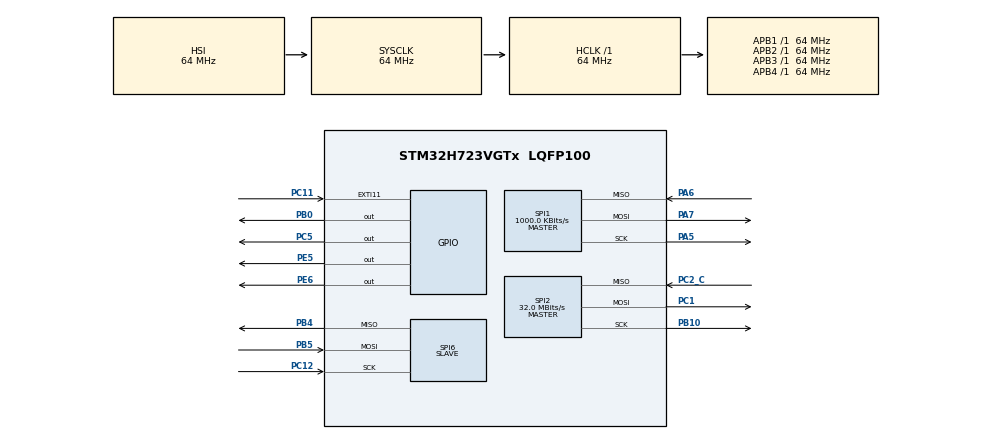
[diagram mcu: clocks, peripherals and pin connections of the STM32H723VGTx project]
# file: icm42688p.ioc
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CORTEX_M7.default_mode_Activation=1
Mcu.Family=STM32H7
Mcu.Name=STM32H723VGTx
Mcu.Package=LQFP100
NVIC.PriorityGroup=NVIC_PRIORITYGROUP_4
NVIC.SPI6_IRQn=true\:0\:0\:false\:false\:true\:true\:true\:true
PA5.Mode=Full_Duplex_Master
PA5.Signal=SPI1_SCK
PA6.Mode=Full_Duplex_Master
PA6.Signal=SPI1_MISO
PA7.Mode=Full_Duplex_Master
PA7.Signal=SPI1_MOSI
PB0.Signal=GPIO_Output
PB10.Mode=Full_Duplex_Master
PB10.Signal=SPI2_SCK
PB4(NJTRST).Mode=Full_Duplex_Slave
PB4(NJTRST).Signal=SPI6_MISO
PB5.Mode=Full_Duplex_Slave
PB5.Signal=SPI6_MOSI
PC1.Mode=Full_Duplex_Master
PC1.Signal=SPI2_MOSI
PC11.GPIO_PuPd=GPIO_PULLUP
PC11.Signal=GPXTI11
PC12.Mode=Full_Duplex_Slave
PC12.Signal=SPI6_SCK
PC2_C.Mode=Full_Duplex_Master
PC2_C.Signal=SPI2_MISO
PC5.PinState=GPIO_PIN_SET
PC5.Signal=GPIO_Output
PE5.PinState=GPIO_PIN_SET
PE5.Signal=GPIO_Output
PE6.PinState=GPIO_PIN_SET
PE6.Signal=GPIO_Output
ProjectManager.HeapSize=0x200
ProjectManager.StackSize=0x400
ProjectManager.TargetToolchain=STM32CubeIDE
RCC.ADCFreq_Value=129000000
RCC.APB1Freq_Value=64000000
RCC.APB2Freq_Value=64000000
RCC.APB3Freq_Value=64000000
RCC.APB4Freq_Value=64000000
RCC.CortexFreq_Value=64000000
RCC.DIVM1=4
RCC.DIVN1=12
RCC.DIVQ1=3
RCC.HCLKFreq_Value=64000000
RCC.PLLFRACN=0
RCC.SYSCLKFreq_VALUE=64000000
RCC.USBFreq_Value=64000000
SPI1.BaudRatePrescaler=SPI_BAUDRATEPRESCALER_64
SPI1.CLKPhase=SPI_PHASE_2EDGE
SPI1.CLKPolarity=SPI_POLARITY_HIGH
SPI1.CalculateBaudRate=1000.0 KBits/s
SPI1.DataSize=SPI_DATASIZE_8BIT
SPI1.Direction=SPI_DIRECTION_2LINES
SPI1.Mode=SPI_MODE_MASTER
SPI1.VirtualType=VM_MASTER
SPI2.BaudRatePrescaler=SPI_BAUDRATEPRESCALER_2
SPI2.CalculateBaudRate=32.0 MBits/s
SPI2.DataSize=SPI_DATASIZE_8BIT
SPI2.Direction=SPI_DIRECTION_2LINES
SPI2.Mode=SPI_MODE_MASTER
SPI2.VirtualType=VM_MASTER
SPI6.DataSize=SPI_DATASIZE_8BIT
SPI6.Direction=SPI_DIRECTION_2LINES
SPI6.Mode=SPI_MODE_SLAVE
SPI6.VirtualType=VM_SLAVE
VP_MEMORYMAP_VS_MEMORYMAP.Mode=CurAppReg
board=custom

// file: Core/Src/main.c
/* USER CODE BEGIN Header */
/**
  ******************************************************************************
  * @file           : main.c
  * @brief          : Main program body
  ******************************************************************************
  * @attention
  *
  * Copyright (c) 2025 STMicroelectronics.
  * All rights reserved.
  *
  * This software is licensed under terms that can be found in the LICENSE file
  * in the root directory of this software component.
  * If no LICENSE file comes with this software, it is provided AS-IS.
  *
  ******************************************************************************
  */
/* USER CODE END Header */
#include "main.h"

/* USER CODE BEGIN Includes */
//#include "spi.h"   // generado por CubeMX

/* USER CODE END Includes */

SPI_HandleTypeDef hspi1;
SPI_HandleTypeDef hspi2;
SPI_HandleTypeDef hspi6;

void SystemClock_Config(void);
static void MPU_Config(void);
static void MX_GPIO_Init(void);
static void MX_SPI6_Init(void);
static void MX_SPI2_Init(void);
static void MX_SPI1_Init(void);
/* USER CODE BEGIN PFP */

HAL_StatusTypeDef AK09940_SoftReset(void);
HAL_StatusTypeDef AK09940_SetModeSafe(uint8_t mode);

//AK099

#define AK09940_REG_WIA1   0x00
#define AK09940_REG_WIA2   0x01
#define AK09940_REG_ST1    0x10
#define AK09940_REG_HXL    0x11
#define AK09940_REG_HXM    0x12
#define AK09940_REG_HXH    0x13
#define AK09940_REG_HYL    0x14
#define AK09940_REG_HYM    0x15
#define AK09940_REG_HYH    0x16
#define AK09940_REG_HZL    0x17
#define AK09940_REG_HZM    0x18
#define AK09940_REG_HZH    0x19
#define AK09940_REG_ST2    0x1B

#define AK09940_REG_CNTL3  0x32   // MODE[4:0] está aquí :contentReference[oaicite:1]{index=1}
#define AK09940_REG_CNTL4  0x33   // SRST está aquí :contentReference[oaicite:2]{index=2}

// ===== AK09940A: CS por GPIO PB0 =====
#define AK_CS_GPIO_Port   GPIOB
#define AK_CS_Pin         GPIO_PIN_0

static inline void AK_CS_Low(void)  { HAL_GPIO_WritePin(AK_CS_GPIO_Port, AK_CS_Pin, GPIO_PIN_RESET); }
static inline void AK_CS_High(void) { HAL_GPIO_WritePin(AK_CS_GPIO_Port, AK_CS_Pin, GPIO_PIN_SET); }

// ===== AK09940A: prototipos =====
uint8_t  AK09940_ReadReg(uint8_t reg);
HAL_StatusTypeDef AK09940_WriteReg(uint8_t reg, uint8_t val);
int AK09940_CheckWhoAmI(uint8_t *wia1, uint8_t *wia2);
HAL_StatusTypeDef AK09940_SetMode(uint8_t mode);
int AK09940_ReadMagXYZ(int16_t *mx, int16_t *my, int16_t *mz);

//fin ak099

// Asumo que CubeMX generó un define para PB0 como ICM_CS_Pin y su puerto como ICM_CS_GPIO_Port
// Si no, sustitúyelo por GPIOB y GPIO_PIN_0.

#define ICM_CS_GPIO_Port   GPIOC
#define ICM_CS_Pin         GPIO_PIN_5

static inline void ICM_CS_Low(void)  { HAL_GPIO_WritePin(ICM_CS_GPIO_Port, ICM_CS_Pin, GPIO_PIN_RESET); }
static inline void ICM_CS_High(void) { HAL_GPIO_WritePin(ICM_CS_GPIO_Port, ICM_CS_Pin, GPIO_PIN_SET); }

extern SPI_HandleTypeDef hspi2;

// Registros ICM42688 (Bank 0)
#define ICM42688_REG_DEVICE_CONFIG   0x11
#define ICM42688_REG_TEMP_DATA1      0x1D
#define ICM42688_REG_ACCEL_XOUT_H    0x1F   // ACCEL_DATA_X1
#define ICM42688_REG_GYRO_XOUT_H     0x25   // GYRO_DATA_X1
#define ICM42688_REG_PWR_MGMT0       0x4E
#define ICM42688_REG_GYRO_CONFIG0    0x4F
#define ICM42688_REG_ACCEL_CONFIG0   0x50
#define ICM42688_REG_WHO_AM_I        0x75

#define ICM42688_SPI_READ            0x80

uint8_t ICM_ReadWhoAmI(void)
{
    uint8_t tx[2] = { (uint8_t)(0x80 | 0x75), 0x00 }; // addr + dummy
    uint8_t rx[2] = { 0, 0 };
    uint8_t who = 0x00;

    ICM_CS_Low();
    if (HAL_SPI_TransmitReceive(&hspi2, tx, rx, 2, HAL_MAX_DELAY) == HAL_OK) {
        who = rx[1];   // el dato normalmente cae aquí
    }
    ICM_CS_High();

    return who;
}

// Transacción de 1 registro: escritura
HAL_StatusTypeDef ICM_WriteReg(uint8_t reg, uint8_t data)
{
    HAL_StatusTypeDef status;
    uint8_t tx[2];

    tx[0] = reg & 0x7F;   // bit7 = 0 → write
    tx[1] = data;

    ICM_CS_Low();
    status = HAL_SPI_Transmit(&hspi2, tx, 2, HAL_MAX_DELAY);
    ICM_CS_High();

    return status;
}

// Lectura de N bytes empezando en reg
HAL_StatusTypeDef ICM_ReadRegs(uint8_t reg, uint8_t *pData, uint16_t size)
{
    HAL_StatusTypeDef status;
    uint8_t txAddr = ICM42688_SPI_READ | (reg & 0x7F);

    ICM_CS_Low();
    status = HAL_SPI_Transmit(&hspi2, &txAddr, 1, HAL_MAX_DELAY);
    if (status != HAL_OK) {
        ICM_CS_High();
        return status;
    }

    status = HAL_SPI_Receive(&hspi2, pData, size, HAL_MAX_DELAY);
    ICM_CS_High();

    return status;
}

// Inicializacion

int ICM42688_Init(void)
{
    HAL_StatusTypeDef status;
    uint8_t whoami = 0;

    // 1) Soft reset (DEVICE_CONFIG bit0 = 1)
    status = ICM_WriteReg(ICM42688_REG_DEVICE_CONFIG, 0x01);
    if (status != HAL_OK) return -1;
    HAL_Delay(2);  // datasheet pide ~1ms

    // 2) Leer WHO_AM_I y verificar 0x47
    status = ICM_ReadRegs(ICM42688_REG_WHO_AM_I, &whoami, 1);
    if (status != HAL_OK) return -2;
    if (whoami != 0x47)   return -3;  // error de conexión

    // 3) PWR_MGMT0: habilitar Gyro LN + Accel LN, Temp ON
    // GYRO_MODE=11b (LN), ACCEL_MODE=11b (LN) → 0b0000 1111 = 0x0F
    status = ICM_WriteReg(ICM42688_REG_PWR_MGMT0, 0x0F);
    if (status != HAL_OK) return -4;
    HAL_Delay(50);

    uint8_t pwr = 0;
    status = ICM_ReadRegs(ICM42688_REG_PWR_MGMT0, &pwr, 1);
    if (status != HAL_OK) return -7;
    if (pwr != 0x0F) return -8;

    // 4) GYRO_CONFIG0: dejar por defecto (±2000dps, 1kHz) o cambiar si quieres
    // Ejemplo: 0x06 = FS ±2000dps, ODR 1kHz
    status = ICM_WriteReg(ICM42688_REG_GYRO_CONFIG0, 0x06);
    if (status != HAL_OK) return -5;

    // 5) ACCEL_CONFIG0: por ejemplo ±4g, ODR 1kHz (revisa tabla exacta en el datasheet)
    // Para algo simple podemos dejar también 0x06 (dependerá de la tabla de ACCEL_FS_SEL/ODR).
    status = ICM_WriteReg(ICM42688_REG_ACCEL_CONFIG0, 0x06);
    if (status != HAL_OK) return -6;

    return 0; // OK
}

// Lectura

typedef struct {
    int16_t temp;
    int16_t ax, ay, az;
    int16_t gx, gy, gz;
} ICM42688_Data_t;

int ICM42688_ReadData(ICM42688_Data_t *out)
{
    uint8_t raw[14];
    HAL_StatusTypeDef status;

    // Leer TEMP_DATA1 (0x1D) hasta GYRO_DATA_Z0 (0x2A) → 14 bytes
    status = ICM_ReadRegs(ICM42688_REG_TEMP_DATA1, raw, 14);
    if (status != HAL_OK) return -1;

    out->temp = (int16_t)((raw[0] << 8) | raw[1]);
    out->ax   = (int16_t)((raw[2] << 8) | raw[3]);
    out->ay   = (int16_t)((raw[4] << 8) | raw[5]);
    out->az   = (int16_t)((raw[6] << 8) | raw[7]);
    out->gx   = (int16_t)((raw[8] << 8) | raw[9]);
    out->gy   = (int16_t)((raw[10] << 8) | raw[11]);
    out->gz   = (int16_t)((raw[12] << 8) | raw[13]);

    return 0;
}

// Buffer global y arranque del SPI slave

#define SPI6_FRAME_LEN 24

extern SPI_HandleTypeDef hspi6;

uint8_t spi6_tx_buf[SPI6_FRAME_LEN];
uint8_t spi6_rx_buf[SPI6_FRAME_LEN]; // por si quieres comandos más adelante

static uint8_t frame_pending[SPI6_FRAME_LEN];
static volatile uint8_t frame_pending_valid = 0;

void Start_SPI6_Slave(void)
{
    // Preparar cabecera
    spi6_tx_buf[0] = 0xAA;
    spi6_tx_buf[1] = 0x55;

    // Arrancar recepción/transmisión en modo IT (full-duplex)
    HAL_SPI_TransmitReceive_IT(&hspi6, spi6_tx_buf, spi6_rx_buf, SPI6_FRAME_LEN);
}

void HAL_SPI_TxRxCpltCallback(SPI_HandleTypeDef *hspi)
{
    if (hspi->Instance == SPI6) {

        // Actualiza TX buffer SOLO cuando terminó la transacción anterior
        if (frame_pending_valid) {
            for (int i = 0; i < SPI6_FRAME_LEN; i++) {
                spi6_tx_buf[i] = frame_pending[i];
            }
            frame_pending_valid = 0;
        }

        // Rearmar siguiente transacción
        HAL_SPI_TransmitReceive_IT(&hspi6, spi6_tx_buf, spi6_rx_buf, SPI6_FRAME_LEN);
    }
}

/* USER CODE END PFP */

int main(void)
{

  /* MPU Configuration--------------------------------------------------------*/
  MPU_Config();

  /* MCU Configuration--------------------------------------------------------*/

  /* Reset of all peripherals, Initializes the Flash interface and the Systick. */
  HAL_Init();

  /* Configure the system clock */
  SystemClock_Config();

  /* Initialize all configured peripherals */
  MX_GPIO_Init();
  MX_SPI6_Init();
  MX_SPI2_Init();
  MX_SPI1_Init();
  /* USER CODE BEGIN 2 */

  //uint8_t w1 = AK09940_ReadReg(0x00);
  //uint8_t w2 = AK09940_ReadReg(0x01);
  // Pon breakpoint aquí y mira w1/w2

  ICM_CS_High();    // asegurarse
  //if (ICM42688_Init() != 0) {
      // error → parpadear LED, etc.
  //}

  // AK099
  AK_CS_High(); // CS en reposo alto

  uint8_t w1=0, w2=0;
  AK09940_CheckWhoAmI(&w1, &w2);

  AK09940_SoftReset();

  // Continuous measurement mode 4 = 100 Hz => MODE[4:0] = 01000b = 0x08 :contentReference[oaicite:8]{index=8}
  AK09940_SetModeSafe(0x08);
  HAL_Delay(10);

  //AK099

  int ret = ICM42688_Init();
  if (ret != 0) {
      // Si falla, para depurar: manda el código de error a la RPi
      spi6_tx_buf[0] = 0xAA;
      spi6_tx_buf[1] = 0x55;
      for (int i = 2; i < 16; i++) spi6_tx_buf[i] = 0xE0 | (uint8_t)(-ret); // marca simple
      // y puedes quedarte aquí o seguir
  }

  Start_SPI6_Slave();

  //ICM42688_Data_t imu;
  /* USER CODE END 2 */

  /* Infinite loop */
  while (1)
  {

    /* USER CODE BEGIN 3 */
	  uint8_t frame[SPI6_FRAME_LEN];
	  frame[0] = 0xAA;
	  frame[1] = 0x55;

	  uint8_t status = 0;

	  ICM42688_Data_t imu;
	  int16_t mx=0, my=0, mz=0;

	  if (ICM42688_ReadData(&imu) == 0) {
	      status |= (1 << 0);

	      frame[2]  = (uint8_t)(imu.temp >> 8);
	      frame[3]  = (uint8_t)(imu.temp & 0xFF);

	      frame[4]  = (uint8_t)(imu.ax >> 8);
	      frame[5]  = (uint8_t)(imu.ax & 0xFF);

	      frame[6]  = (uint8_t)(imu.ay >> 8);
	      frame[7]  = (uint8_t)(imu.ay & 0xFF);

	      frame[8]  = (uint8_t)(imu.az >> 8);
	      frame[9]  = (uint8_t)(imu.az & 0xFF);

	      frame[10] = (uint8_t)(imu.gx >> 8);
	      frame[11] = (uint8_t)(imu.gx & 0xFF);

	      frame[12] = (uint8_t)(imu.gy >> 8);
	      frame[13] = (uint8_t)(imu.gy & 0xFF);

	      frame[14] = (uint8_t)(imu.gz >> 8);
	      frame[15] = (uint8_t)(imu.gz & 0xFF);
	  } else {
	      for (int i = 2; i <= 15; i++) frame[i] = 0xEE;
	  }

	  if (AK09940_ReadMagXYZ(&mx, &my, &mz) == 0) {
	      status |= (1 << 1);

	      frame[16] = (uint8_t)(mx >> 8);
	      frame[17] = (uint8_t)(mx & 0xFF);

	      frame[18] = (uint8_t)(my >> 8);
	      frame[19] = (uint8_t)(my & 0xFF);

	      frame[20] = (uint8_t)(mz >> 8);
	      frame[21] = (uint8_t)(mz & 0xFF);
	  } else {
	      frame[16] = frame[17] = 0xEF;
	      frame[18] = frame[19] = 0xEF;
	      frame[20] = frame[21] = 0xEF;
	  }

	  frame[22] = status;

	  // checksum XOR (0..22)
	  uint8_t csum = 0;
	  for (int i = 0; i <= 22; i++) csum ^= frame[i];
	  frame[23] = csum;

	  // Publicar frame para que el callback lo tome cuando termine la transacción SPI6
	  for (int i = 0; i < SPI6_FRAME_LEN; i++) frame_pending[i] = frame[i];
	  frame_pending_valid = 1;

	  HAL_Delay(10);
  }
  /* USER CODE END 3 */
}

void SystemClock_Config(void)
{
  RCC_OscInitTypeDef RCC_OscInitStruct = {0};
  RCC_ClkInitTypeDef RCC_ClkInitStruct = {0};

  /** Supply configuration update enable
  */
  HAL_PWREx_ConfigSupply(PWR_LDO_SUPPLY);

  /** Configure the main internal regulator output voltage
  */
  __HAL_PWR_VOLTAGESCALING_CONFIG(PWR_REGULATOR_VOLTAGE_SCALE3);

  while(!__HAL_PWR_GET_FLAG(PWR_FLAG_VOSRDY)) {}

  /** Initializes the RCC Oscillators according to the specified parameters
  * in the RCC_OscInitTypeDef structure.
  */
  RCC_OscInitStruct.OscillatorType = RCC_OSCILLATORTYPE_HSI;
  RCC_OscInitStruct.HSIState = RCC_HSI_DIV1;
  RCC_OscInitStruct.HSICalibrationValue = 64;
  RCC_OscInitStruct.PLL.PLLState = RCC_PLL_ON;
  RCC_OscInitStruct.PLL.PLLSource = RCC_PLLSOURCE_HSI;
  RCC_OscInitStruct.PLL.PLLM = 4;
  RCC_OscInitStruct.PLL.PLLN = 12;
  RCC_OscInitStruct.PLL.PLLP = 2;
  RCC_OscInitStruct.PLL.PLLQ = 3;
  RCC_OscInitStruct.PLL.PLLR = 2;
  RCC_OscInitStruct.PLL.PLLRGE = RCC_PLL1VCIRANGE_3;
  RCC_OscInitStruct.PLL.PLLVCOSEL = RCC_PLL1VCOWIDE;
  RCC_OscInitStruct.PLL.PLLFRACN = 0;
  if (HAL_RCC_OscConfig(&RCC_OscInitStruct) != HAL_OK)
  {
    Error_Handler();
  }

  /** Initializes the CPU, AHB and APB buses clocks
  */
  RCC_ClkInitStruct.ClockType = RCC_CLOCKTYPE_HCLK|RCC_CLOCKTYPE_SYSCLK
                              |RCC_CLOCKTYPE_PCLK1|RCC_CLOCKTYPE_PCLK2
                              |RCC_CLOCKTYPE_D3PCLK1|RCC_CLOCKTYPE_D1PCLK1;
  RCC_ClkInitStruct.SYSCLKSource = RCC_SYSCLKSOURCE_HSI;
  RCC_ClkInitStruct.SYSCLKDivider = RCC_SYSCLK_DIV1;
  RCC_ClkInitStruct.AHBCLKDivider = RCC_HCLK_DIV1;
  RCC_ClkInitStruct.APB3CLKDivider = RCC_APB3_DIV1;
  RCC_ClkInitStruct.APB1CLKDivider = RCC_APB1_DIV1;
  RCC_ClkInitStruct.APB2CLKDivider = RCC_APB2_DIV1;
  RCC_ClkInitStruct.APB4CLKDivider = RCC_APB4_DIV1;

  if (HAL_RCC_ClockConfig(&RCC_ClkInitStruct, FLASH_LATENCY_1) != HAL_OK)
  {
    Error_Handler();
  }
}

static void MX_SPI1_Init(void)
{

  /* SPI1 parameter configuration*/
  hspi1.Instance = SPI1;
  hspi1.Init.Mode = SPI_MODE_MASTER;
  hspi1.Init.Direction = SPI_DIRECTION_2LINES;
  hspi1.Init.DataSize = SPI_DATASIZE_8BIT;
  hspi1.Init.CLKPolarity = SPI_POLARITY_HIGH;
  hspi1.Init.CLKPhase = SPI_PHASE_2EDGE;
  hspi1.Init.NSS = SPI_NSS_SOFT;
  hspi1.Init.BaudRatePrescaler = SPI_BAUDRATEPRESCALER_256;
  hspi1.Init.FirstBit = SPI_FIRSTBIT_MSB;
  hspi1.Init.TIMode = SPI_TIMODE_DISABLE;
  hspi1.Init.CRCCalculation = SPI_CRCCALCULATION_DISABLE;
  hspi1.Init.CRCPolynomial = 0x0;
  hspi1.Init.NSSPMode = SPI_NSS_PULSE_DISABLE;
  hspi1.Init.NSSPolarity = SPI_NSS_POLARITY_LOW;
  hspi1.Init.FifoThreshold = SPI_FIFO_THRESHOLD_01DATA;
  hspi1.Init.TxCRCInitializationPattern = SPI_CRC_INITIALIZATION_ALL_ZERO_PATTERN;
  hspi1.Init.RxCRCInitializationPattern = SPI_CRC_INITIALIZATION_ALL_ZERO_PATTERN;
  hspi1.Init.MasterSSIdleness = SPI_MASTER_SS_IDLENESS_00CYCLE;
  hspi1.Init.MasterInterDataIdleness = SPI_MASTER_INTERDATA_IDLENESS_00CYCLE;
  hspi1.Init.MasterReceiverAutoSusp = SPI_MASTER_RX_AUTOSUSP_DISABLE;
  hspi1.Init.MasterKeepIOState = SPI_MASTER_KEEP_IO_STATE_DISABLE;
  hspi1.Init.IOSwap = SPI_IO_SWAP_DISABLE;
  if (HAL_SPI_Init(&hspi1) != HAL_OK)
  {
    Error_Handler();
  }

}

static void MX_SPI2_Init(void)
{

  /* SPI2 parameter configuration*/
  hspi2.Instance = SPI2;
  hspi2.Init.Mode = SPI_MODE_MASTER;
  hspi2.Init.Direction = SPI_DIRECTION_2LINES;
  hspi2.Init.DataSize = SPI_DATASIZE_8BIT;
  hspi2.Init.CLKPolarity = SPI_POLARITY_LOW;
  hspi2.Init.CLKPhase = SPI_PHASE_1EDGE;
  hspi2.Init.NSS = SPI_NSS_SOFT;
  hspi2.Init.BaudRatePrescaler = SPI_BAUDRATEPRESCALER_2;
  hspi2.Init.FirstBit = SPI_FIRSTBIT_MSB;
  hspi2.Init.TIMode = SPI_TIMODE_DISABLE;
  hspi2.Init.CRCCalculation = SPI_CRCCALCULATION_DISABLE;
  hspi2.Init.CRCPolynomial = 0x0;
  hspi2.Init.NSSPMode = SPI_NSS_PULSE_ENABLE;
  hspi2.Init.NSSPolarity = SPI_NSS_POLARITY_LOW;
  hspi2.Init.FifoThreshold = SPI_FIFO_THRESHOLD_01DATA;
  hspi2.Init.TxCRCInitializationPattern = SPI_CRC_INITIALIZATION_ALL_ZERO_PATTERN;
  hspi2.Init.RxCRCInitializationPattern = SPI_CRC_INITIALIZATION_ALL_ZERO_PATTERN;
  hspi2.Init.MasterSSIdleness = SPI_MASTER_SS_IDLENESS_00CYCLE;
  hspi2.Init.MasterInterDataIdleness = SPI_MASTER_INTERDATA_IDLENESS_00CYCLE;
  hspi2.Init.MasterReceiverAutoSusp = SPI_MASTER_RX_AUTOSUSP_DISABLE;
  hspi2.Init.MasterKeepIOState = SPI_MASTER_KEEP_IO_STATE_DISABLE;
  hspi2.Init.IOSwap = SPI_IO_SWAP_DISABLE;
  if (HAL_SPI_Init(&hspi2) != HAL_OK)
  {
    Error_Handler();
  }

}

static void MX_SPI6_Init(void)
{

  /* SPI6 parameter configuration*/
  hspi6.Instance = SPI6;
  hspi6.Init.Mode = SPI_MODE_SLAVE;
  hspi6.Init.Direction = SPI_DIRECTION_2LINES;
  hspi6.Init.DataSize = SPI_DATASIZE_8BIT;
  hspi6.Init.CLKPolarity = SPI_POLARITY_LOW;
  hspi6.Init.CLKPhase = SPI_PHASE_1EDGE;
  hspi6.Init.NSS = SPI_NSS_SOFT;
  hspi6.Init.FirstBit = SPI_FIRSTBIT_MSB;
  hspi6.Init.TIMode = SPI_TIMODE_DISABLE;
  hspi6.Init.CRCCalculation = SPI_CRCCALCULATION_DISABLE;
  hspi6.Init.CRCPolynomial = 0x0;
  hspi6.Init.NSSPMode = SPI_NSS_PULSE_DISABLE;
  hspi6.Init.NSSPolarity = SPI_NSS_POLARITY_LOW;
  hspi6.Init.FifoThreshold = SPI_FIFO_THRESHOLD_01DATA;
  hspi6.Init.TxCRCInitializationPattern = SPI_CRC_INITIALIZATION_ALL_ZERO_PATTERN;
  hspi6.Init.RxCRCInitializationPattern = SPI_CRC_INITIALIZATION_ALL_ZERO_PATTERN;
  hspi6.Init.MasterSSIdleness = SPI_MASTER_SS_IDLENESS_00CYCLE;
  hspi6.Init.MasterInterDataIdleness = SPI_MASTER_INTERDATA_IDLENESS_00CYCLE;
  hspi6.Init.MasterReceiverAutoSusp = SPI_MASTER_RX_AUTOSUSP_DISABLE;
  hspi6.Init.MasterKeepIOState = SPI_MASTER_KEEP_IO_STATE_DISABLE;
  hspi6.Init.IOSwap = SPI_IO_SWAP_DISABLE;
  if (HAL_SPI_Init(&hspi6) != HAL_OK)
  {
    Error_Handler();
  }

}

static void MX_GPIO_Init(void)
{
  GPIO_InitTypeDef GPIO_InitStruct = {0};

  /* GPIO Ports Clock Enable */
  __HAL_RCC_GPIOE_CLK_ENABLE();
  __HAL_RCC_GPIOC_CLK_ENABLE();
  __HAL_RCC_GPIOA_CLK_ENABLE();
  __HAL_RCC_GPIOB_CLK_ENABLE();

  /*Configure GPIO pin Output Level */
  HAL_GPIO_WritePin(GPIOE, GPIO_PIN_5|GPIO_PIN_6, GPIO_PIN_SET);

  /*Configure GPIO pin Output Level */
  HAL_GPIO_WritePin(GPIOC, GPIO_PIN_5, GPIO_PIN_SET);

  /*Configure GPIO pin Output Level */
  HAL_GPIO_WritePin(GPIOB, GPIO_PIN_0, GPIO_PIN_SET);

  /*Configure GPIO pins : PE5 PE6 */
  GPIO_InitStruct.Pin = GPIO_PIN_5|GPIO_PIN_6;
  GPIO_InitStruct.Mode = GPIO_MODE_OUTPUT_PP;
  GPIO_InitStruct.Pull = GPIO_NOPULL;
  GPIO_InitStruct.Speed = GPIO_SPEED_FREQ_LOW;
  HAL_GPIO_Init(GPIOE, &GPIO_InitStruct);

  /*Configure GPIO pin : PC5 */
  GPIO_InitStruct.Pin = GPIO_PIN_5;
  GPIO_InitStruct.Mode = GPIO_MODE_OUTPUT_PP;
  GPIO_InitStruct.Pull = GPIO_NOPULL;
  GPIO_InitStruct.Speed = GPIO_SPEED_FREQ_LOW;
  HAL_GPIO_Init(GPIOC, &GPIO_InitStruct);

  /*Configure GPIO pin : PB0 */
  GPIO_InitStruct.Pin = GPIO_PIN_0;
  GPIO_InitStruct.Mode = GPIO_MODE_OUTPUT_PP;
  GPIO_InitStruct.Pull = GPIO_NOPULL;
  GPIO_InitStruct.Speed = GPIO_SPEED_FREQ_LOW;
  HAL_GPIO_Init(GPIOB, &GPIO_InitStruct);

  /*Configure GPIO pin : PC11 */
  GPIO_InitStruct.Pin = GPIO_PIN_11;
  GPIO_InitStruct.Mode = GPIO_MODE_IT_RISING;
  GPIO_InitStruct.Pull = GPIO_PULLUP;
  HAL_GPIO_Init(GPIOC, &GPIO_InitStruct);

}

/* USER CODE BEGIN 4 */

// AK099
// ===== AK09940A SPI helpers =====
// Protocolo SPI del AK: 1 byte "addr|R/W" (MSB=1 lectura, MSB=0 escritura), luego datos.
// Lectura: enviar addr|0x80 + dummy, recibir dato en el segundo byte.

HAL_StatusTypeDef AK09940_SoftReset(void)
{
    // CNTL4.SRST (bit0) :contentReference[oaicite:3]{index=3}
    HAL_StatusTypeDef st = AK09940_WriteReg(AK09940_REG_CNTL4, 0x01);
    HAL_Delay(2);
    return st;
    return st;
}

HAL_StatusTypeDef AK09940_SetModeSafe(uint8_t mode)
{
    HAL_StatusTypeDef st;

    // Power-down: MODE=00000 :contentReference[oaicite:5]{index=5}
    st = AK09940_WriteReg(AK09940_REG_CNTL3, 0x00);
    HAL_Delay(2);
    if (st != HAL_OK) return st;

    st = AK09940_WriteReg(AK09940_REG_CNTL3, (mode & 0x1F));
    HAL_Delay(2);
    return st;
}

static inline void AK_SPI_Delay(void) {
  for (volatile int i = 0; i < 50; i++) { __NOP(); }
}

uint8_t AK09940_ReadReg(uint8_t reg)
{
    uint8_t tx[2] = { (uint8_t)(reg | 0x80), 0x00 };
    uint8_t rx[2] = { 0, 0 };

    AK_CS_Low();
    AK_SPI_Delay();

    HAL_SPI_TransmitReceive(&hspi1, tx, rx, 2, HAL_MAX_DELAY);

    AK_SPI_Delay();
    AK_CS_High();

    return rx[1];
}

HAL_StatusTypeDef AK09940_WriteReg(uint8_t reg, uint8_t val)
{
    uint8_t tx[2] = { (uint8_t)(reg & 0x7F), val };

    AK_CS_Low();
    AK_SPI_Delay();

    HAL_StatusTypeDef st = HAL_SPI_Transmit(&hspi1, tx, 2, HAL_MAX_DELAY);

    AK_SPI_Delay();
    AK_CS_High();

    return st;
}

int AK09940_CheckWhoAmI(uint8_t *wia1, uint8_t *wia2)
{
    // WIA1=0x48, WIA2=0xA3
    // Direcciones típicas:
    // WIA1: 0x00, WIA2: 0x01
    uint8_t a = AK09940_ReadReg(0x00);
    uint8_t b = AK09940_ReadReg(0x01);

    if (wia1) *wia1 = a;
    if (wia2) *wia2 = b;

    return (a == 0x48 && b == 0xA3) ? 0 : -1;
}

HAL_StatusTypeDef AK09940_SetMode(uint8_t mode)
{
    // MODE[4:0] en CNTL3 :contentReference[oaicite:4]{index=4}
    return AK09940_WriteReg(AK09940_REG_CNTL3, (mode & 0x1F));
}

// Lee varios bytes consecutivos manteniendo CS bajo (burst)
HAL_StatusTypeDef AK09940_ReadBurst(uint8_t startReg, uint8_t *data, uint16_t len)
{
    // Protocolo: primer byte = (addr | 0x80) lectura, luego clocks dummy
    uint8_t cmd = (uint8_t)(startReg | 0x80);

    AK_CS_Low();

    // Enviar comando
    HAL_StatusTypeDef st = HAL_SPI_Transmit(&hspi1, &cmd, 1, HAL_MAX_DELAY);
    if (st != HAL_OK) { AK_CS_High(); return st; }

    // Recibir 'len' bytes
    st = HAL_SPI_Receive(&hspi1, data, len, HAL_MAX_DELAY);

    AK_CS_High();
    return st;
}

// Sign extend 18-bit a int32
static int32_t ak09940_sign_extend_18(uint32_t v)
{
    v &= 0x3FFFF;                       // 18 bits
    if (v & (1UL << 17)) v |= ~0x3FFFFUL; // extender signo
    return (int32_t)v;
}

// Lee X/Y/Z del magnetómetro (18-bit) y entrega int16 (18->16 con >>2)
int AK09940_ReadMagXYZ(int16_t *mx, int16_t *my, int16_t *mz)
{
    uint8_t st1 = AK09940_ReadReg(AK09940_REG_ST1);

    // Si ST1 es 0xFF o 0x00, NO es lectura real (bus flotante / sin respuesta)
    if (st1 == 0xFF || st1 == 0x00) return -3;

    // DRDY
    if ((st1 & 0x01) == 0) return 1;

    // Burst de 9 bytes: HXL..HZH
    uint8_t d[9] = {0};
    if (AK09940_ReadBurst(AK09940_REG_HXL, d, 9) != HAL_OK) return -4;

    // Si todo viene 0xFF, tampoco es real
    int all_ff = 1;
    for (int i = 0; i < 9; i++) {
        if (d[i] != 0xFF) { all_ff = 0; break; }
    }
    if (all_ff) return -5;

    // Cerrar secuencia (recomendado)
    (void)AK09940_ReadReg(AK09940_REG_ST2);

    // X = HXL,HXM,HXH(2 LSB)
    uint32_t x18 = ((uint32_t)(d[2] & 0x03) << 16) | ((uint32_t)d[1] << 8) | d[0];
    uint32_t y18 = ((uint32_t)(d[5] & 0x03) << 16) | ((uint32_t)d[4] << 8) | d[3];
    uint32_t z18 = ((uint32_t)(d[8] & 0x03) << 16) | ((uint32_t)d[7] << 8) | d[6];

    int32_t xs = ak09940_sign_extend_18(x18);
    int32_t ys = ak09940_sign_extend_18(y18);
    int32_t zs = ak09940_sign_extend_18(z18);

    // 18-bit -> 16-bit (divide por 4)
    if (mx) *mx = (int16_t)(xs >> 2);
    if (my) *my = (int16_t)(ys >> 2);
    if (mz) *mz = (int16_t)(zs >> 2);

    return 0;
}
// fin AK099

/* USER CODE END 4 */

 /* MPU Configuration */

void MPU_Config(void)
{
  MPU_Region_InitTypeDef MPU_InitStruct = {0};

  /* Disables the MPU */
  HAL_MPU_Disable();

  /** Initializes and configures the Region and the memory to be protected
  */
  MPU_InitStruct.Enable = MPU_REGION_ENABLE;
  MPU_InitStruct.Number = MPU_REGION_NUMBER0;
  MPU_InitStruct.BaseAddress = 0x0;
  MPU_InitStruct.Size = MPU_REGION_SIZE_4GB;
  MPU_InitStruct.SubRegionDisable = 0x87;
  MPU_InitStruct.TypeExtField = MPU_TEX_LEVEL0;
  MPU_InitStruct.AccessPermission = MPU_REGION_NO_ACCESS;
  MPU_InitStruct.DisableExec = MPU_INSTRUCTION_ACCESS_DISABLE;
  MPU_InitStruct.IsShareable = MPU_ACCESS_SHAREABLE;
  MPU_InitStruct.IsCacheable = MPU_ACCESS_NOT_CACHEABLE;
  MPU_InitStruct.IsBufferable = MPU_ACCESS_NOT_BUFFERABLE;

  HAL_MPU_ConfigRegion(&MPU_InitStruct);
  /* Enables the MPU */
  HAL_MPU_Enable(MPU_PRIVILEGED_DEFAULT);

}

void Error_Handler(void)
{
  __disable_irq();
  while (1)
  {
  }
}
